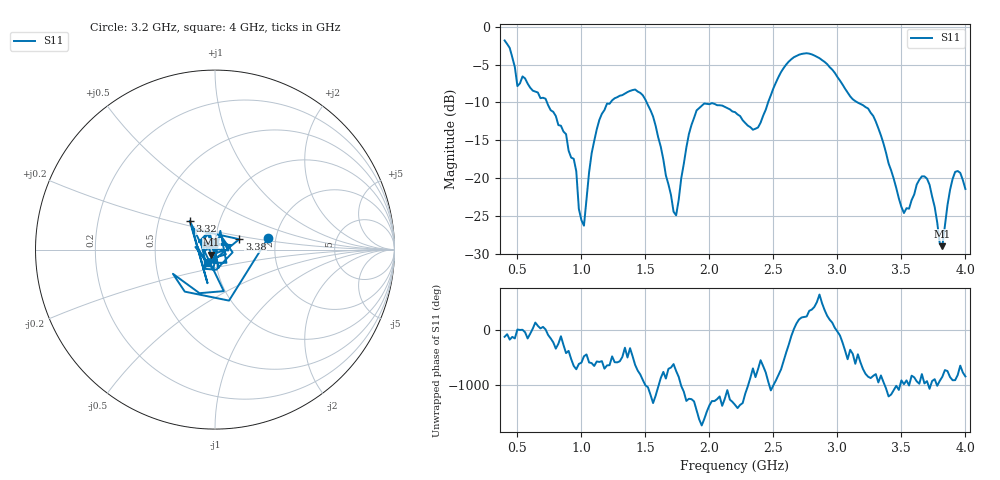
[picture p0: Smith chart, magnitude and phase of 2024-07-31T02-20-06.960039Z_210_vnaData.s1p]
!Created with skrf (http://scikit-rf.org).
# Hz S RI R 50.0
!freq ReS11 ImS11
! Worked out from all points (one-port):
!   181 points, 400 MHz to 4 GHz, reference 50 ohm
!   lowest |S11| = -29.0 dB at 3.82 GHz (marker M1), VSWR 1.07, Z = 47.9 - j2.77 ohm
!   |S11| at or under -10 dB: 731.5 MHz to 1.228 GHz (496 MHz wide, 50.6 % of centre); 1.51 GHz to 2.458 GHz (948.1 MHz wide, 47.8 % of centre); 3.158 GHz to end of sweep
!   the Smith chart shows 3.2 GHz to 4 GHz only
!   S11 on the Smith chart (normalised r, x): 3.2 GHz: 1.82, +0.26; 3.32 GHz: 0.72, +0.24; 3.38 GHz: 1.30, +0.15; 4 GHz: 0.91, -0.13
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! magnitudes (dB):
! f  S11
! 400 MHz  -1.8
! 500 MHz  -7.8
! 560 MHz  -6.8
! 860 MHz  -13.8
! 940 MHz  -17.4
! 980 MHz  -24.0
! 1.02 GHz  -26.3
! 1.08 GHz  -16.7
! 1.14 GHz  -12.3
! 1.3 GHz  -9.1
! 1.5 GHz  -9.6
! 1.72 GHz  -24.4
! 1.76 GHz  -22.9
! 1.9 GHz  -11.0
! 2.2 GHz  -11.3
! 2.38 GHz  -13.3
! 2.66 GHz  -4.0
! 2.86 GHz  -4.2
! 3.1 GHz  -9.2
! 3.2 GHz  -10.4
! 3.32 GHz  -13.4
! 3.38 GHz  -16.6
! 3.5 GHz  -23.8
! 3.56 GHz  -24.0
! 3.7 GHz  -20.1
! 3.82 GHz  -29.0
! 3.92 GHz  -19.2
! 4 GHz  -21.4
